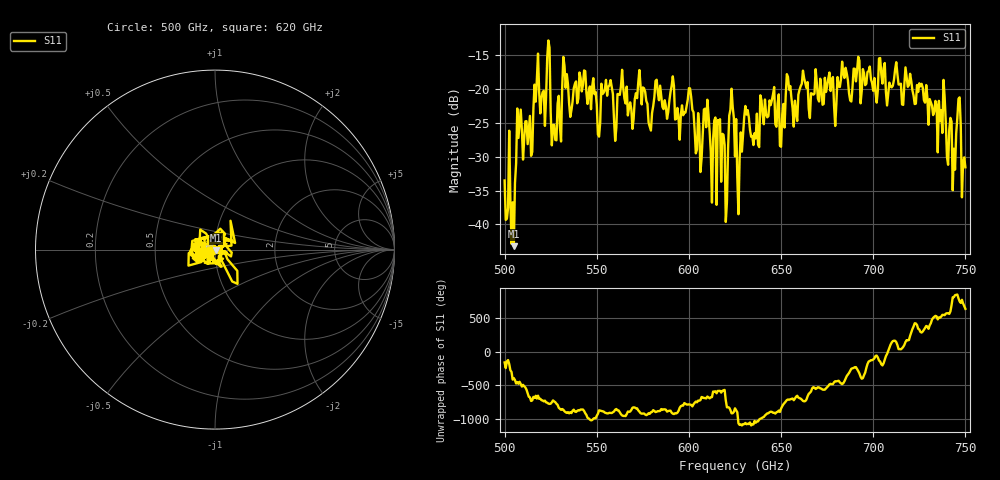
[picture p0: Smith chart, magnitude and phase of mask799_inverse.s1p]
!Created with skrf (http://scikit-rf.org).
# GHz S MA R 50.0
!freq magS11 angS11
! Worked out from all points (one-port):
!   401 points, 500 GHz to 750 GHz, reference 50 ohm
!   lowest |S11| = -43.2 dB at 505 GHz (marker M1), VSWR 1.01, Z = 50.6 - j0.409 ohm
!   |S11| at or under -10 dB: start of sweep to end of sweep
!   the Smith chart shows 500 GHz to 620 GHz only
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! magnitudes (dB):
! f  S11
! 500 GHz  -33.5
! 505 GHz  -43.2
! 508.1 GHz  -25.2
! 513.8 GHz  -24.0
! 516.9 GHz  -21.9
! 523.8 GHz  -12.8
! 526.9 GHz  -25.3
! 531.2 GHz  -19.7
! 550.6 GHz  -26.7
! 562.5 GHz  -20.9
! 579.4 GHz  -26.1
! 590.6 GHz  -19.5
! 593.8 GHz  -22.8
! 600.6 GHz  -19.9
! 605.6 GHz  -25.5
! 609.4 GHz  -25.6
! 620 GHz  -39.6
! 623.1 GHz  -20.0
! 625 GHz  -30.0
! 627.5 GHz  -30.3
! 631.2 GHz  -23.8
! 656.2 GHz  -22.8
! 687.5 GHz  -21.7
! 718.8 GHz  -19.7
! 738.1 GHz  -18.7
! 743.8 GHz  -28.8
! 746.2 GHz  -21.5
! 750 GHz  -31.6
